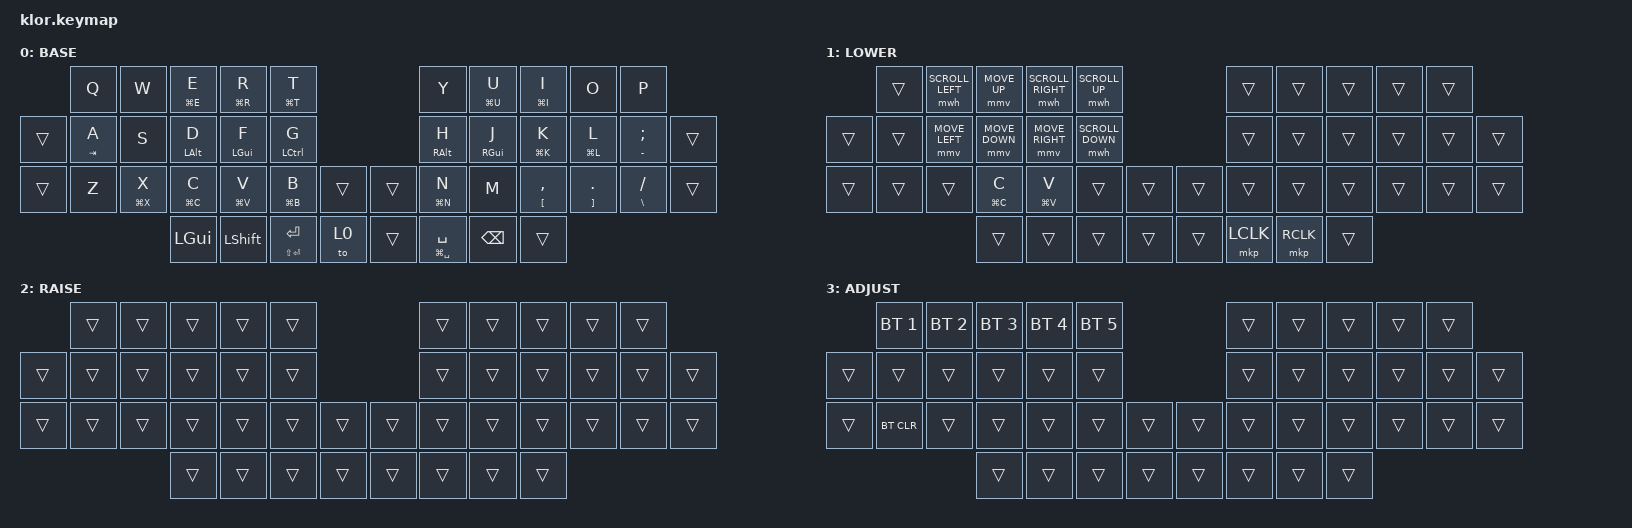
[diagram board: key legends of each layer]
//                               █         █    █            ▄▄▄▀▀▀▀▀▀▄▄▄        █▀▀▀▀▀▀▀▀▀▀█
//                               █        █     █          ▄▀            ▀▄      █          █
//                               █       █      █        ▄▀                ▀▄    █          █
//                               █      █       █        █                  █    █          █
//                               █     █        █       █                    █   █          █
//                               █    █         █       █                    █   █▄▄▄▄▄▄▄▄▄▄█
//                               █   █ █        █       █                    █   █      █
//                               █  █   █       █        █                  █    █       █
//                               █ █     █      █        ▀▄                ▄▀    █        █
//                               ██       █     █          ▀▄            ▄▀      █         █
//                               █         █    █▄▄▄▄▄▄▄▄    ▀▀▀▄▄▄▄▄▄▀▀▀        █          █
//
// ▄▄▄▄▄▄▄▄▄▄▄▄▄▄▄▄▄▄▄▄▄▄▄▄▄▄▄▄▄▄▄▄▄▄▄▄▄▄▄▄▄▄▄▄▄▄▄▄▄▄▄▄▄▄▄▄▄▄▄▄▄▄▄▄▄▄▄▄▄▄▄▄▄▄▄▄▄▄▄▄▄▄▄▄▄▄▄▄▄▄▄▄▄▄▄▄▄▄▄▄▄▄▄▄▄▄▄▄▄▄▄▄▄▄▄▄▄▄▄▄▄▄▄▄▄

#include <behaviors.dtsi>
#include <dt-bindings/zmk/keys.h>
#include <dt-bindings/zmk/bt.h>
#include <dt-bindings/zmk/mouse.h>

#define BASE   0
#define LOWER  1
#define RAISE  2
#define ADJUST 3

&mmv {
    time-to-max-speed-ms = <250>;
    acceleration-exponent = <0>;
};

&mwh {
    time-to-max-speed-ms = <250>;
    acceleration-exponent = <0>;
};

/ {
    combos {
        compatible = "zmk,combos";

        combo_esc {
            timeout-ms = <25>;
            key-positions = <0 1>;
            bindings = <&kp ESC>;
        };

        combo_PP {
            timeout-ms = <25>;
            key-positions = <4 5>;
            bindings = <&kp C_PP>;
        };

        combo_EXCLAMATION {
            timeout-ms = <25>;
            bindings = <&kp EXCLAMATION>;
            key-positions = <1 2>;
        };

        combo_AT_SIGN {
            timeout-ms = <25>;
            bindings = <&kp AT_SIGN>;
            key-positions = <2 3>;
        };

        combo_HASH {
            timeout-ms = <25>;
            bindings = <&kp HASH>;
            key-positions = <1 13>;
        };

        combo_DOLLAR {
            timeout-ms = <25>;
            bindings = <&kp DOLLAR>;
            key-positions = <13 3>;
        };

        combo_PERCENT {
            timeout-ms = <25>;
            bindings = <&kp PERCENT>;
            key-positions = <1 3>;
        };

        combo_CARET {
            timeout-ms = <25>;
            bindings = <&kp CARET>;
            key-positions = <6 8>;
        };

        combo_AMPERSAND {
            timeout-ms = <25>;
            bindings = <&kp AMPERSAND>;
            key-positions = <6 18>;
        };

        combo_ASTERISK {
            timeout-ms = <25>;
            bindings = <&kp ASTERISK>;
            key-positions = <18 8>;
        };

        combo_LEFT_PARENTHESIS {
            timeout-ms = <25>;
            bindings = <&kp LEFT_PARENTHESIS>;
            key-positions = <6 7>;
        };

        combo_RIGHT_PARENTHESIS {
            timeout-ms = <25>;
            bindings = <&kp RIGHT_PARENTHESIS>;
            key-positions = <7 8>;
        };

        combo_VOLUME_UP {
            timeout-ms = <25>;
            bindings = <&kp C_VOLUME_UP>;
            key-positions = <25 26>;
        };

        combo_VOLUME_DOWN {
            timeout-ms = <25>;
            bindings = <&kp C_VOLUME_DOWN>;
            key-positions = <23 24>;
        };

        combo_MUTE {
            timeout-ms = <25>;
            bindings = <&kp C_MUTE>;
            key-positions = <24 25>;
        };

        combo_TO3 {
            timeout-ms = <25>;
            bindings = <&to 3>;
            key-positions = <37 38 27>;
        };

        combo_dash {
            timeout-ms = <25>;
            bindings = <&kp SINGLE_QUOTE>;
            key-positions = <8 9>;
        };

        combo_quote {
            timeout-ms = <25>;
            bindings = <&kp MINUS>;
            key-positions = <19 20>;
        };

        combo_plus {
            timeout-ms = <25>;
            bindings = <&kp PLUS>;
            key-positions = <20 34>;
        };

        combo_multiply {
            timeout-ms = <25>;
            bindings = <&kp ASTERISK>;
            key-positions = <20 33>;
        };

        combo_equal {
            timeout-ms = <25>;
            bindings = <&kp EQUAL>;
            key-positions = <34 33>;
        };

        combo_no1 {
            timeout-ms = <50>;
            bindings = <&kp NUMBER_1>;
            key-positions = <42 31>;
        };

        combo_no2 {
            timeout-ms = <50>;
            bindings = <&kp NUMBER_2>;
            key-positions = <42 32>;
        };

        combo_no3 {
            timeout-ms = <50>;
            bindings = <&kp NUMBER_3>;
            key-positions = <42 33>;
        };

        combo_no4 {
            timeout-ms = <50>;
            bindings = <&kp NUMBER_4>;
            key-positions = <42 17>;
        };

        combo_no5 {
            timeout-ms = <50>;
            bindings = <&kp NUMBER_5>;
            key-positions = <42 18>;
        };

        combo_no6 {
            timeout-ms = <50>;
            bindings = <&kp NUMBER_6>;
            key-positions = <42 19>;
        };

        combo_no7 {
            timeout-ms = <50>;
            bindings = <&kp NUMBER_7>;
            key-positions = <42 6>;
        };

        combo_no8 {
            timeout-ms = <50>;
            bindings = <&kp NUMBER_8>;
            key-positions = <42 7>;
        };

        combo_no9 {
            timeout-ms = <50>;
            bindings = <&kp NUMBER_9>;
            key-positions = <42 8>;
        };

        combo_no0 {
            timeout-ms = <50>;
            bindings = <&kp NUMBER_0>;
            key-positions = <42 9>;
        };

        combo_leftscreen {
            timeout-ms = <25>;
            bindings = <&kp LC(LEFT)>;
            key-positions = <11 0>;
        };

        combo_rightscreen {
            timeout-ms = <25>;
            bindings = <&kp LC(RIGHT)>;
            key-positions = <4 15>;
        };

        combo_nexttrack {
            timeout-ms = <25>;
            bindings = <&kp C_NEXT>;
            key-positions = <24 25 26>;
        };

        combo_prevtrack {
            timeout-ms = <25>;
            bindings = <&kp C_PREV>;
            key-positions = <23 24 25>;
        };

        combo_changelang {
            timeout-ms = <30>;
            bindings = <&kp LC(SPACE)>;
            key-positions = <14 15 16 17>;
        };

        combo_up {
            timeout-ms = <25>;
            bindings = <&kp UP>;
            key-positions = <2 13>;
        };

        combo_down {
            timeout-ms = <25>;
            bindings = <&kp DOWN>;
            key-positions = <13 25>;
        };

        combo_left {
            timeout-ms = <25>;
            bindings = <&kp LEFT>;
            key-positions = <13 12>;
        };

        combo_right {
            timeout-ms = <25>;
            bindings = <&kp RIGHT>;
            key-positions = <13 14>;
        };

        combo_spaces {
            timeout-ms = <30>;
            bindings = <&kp LC(UP)>;
            key-positions = <0 4>;
        };

        combo_to0 {
            timeout-ms = <50>;
            bindings = <&to 0>;
            key-positions = <37 38>;
        };

        combo_screenshot {
            bindings = <&kp LG(LS(N4))>;
            key-positions = <0 23 9 34>;
        };

        combo_cmd_left {
            timeout-ms = <30>;
            bindings = <&kp LG(LEFT)>;
            key-positions = <0 2>;
        };

        combo_cmd_right {
            timeout-ms = <30>;
            bindings = <&kp LG(RIGHT)>;
            key-positions = <2 4>;
        };

        combo_to1 {
            bindings = <&to 1>;
            key-positions = <41 42>;
        };

        combo_emoji {
            bindings = <&kp LC(LG(SPACE))>;
            key-positions = <4 3 5 6>;
        };
    };

    behaviors {
        gqt: global-quick-tap {
            compatible = "zmk,behavior-hold-tap";
            label = "GLOBAL_QUICK_TAP";
            #binding-cells = <2>;
            flavor = "tap-preferred";
            tapping-term-ms = <250>;
            quick-tap-ms = <125>;
            global-quick-tap;
            bindings =
                <&kp>,
                <&kp>;
        };
    };

    keymap {
        compatible = "zmk,keymap";

        // ▄▄▄▄▄▄▄▄▄▄▄▄▄▄▄▄▄▄▄▄▄▄▄▄▄▄▄▄▄▄▄▄▄▄▄▄▄▄▄▄▄▄▄▄▄▄▄▄▄▄▄▄▄▄▄▄▄▄▄▄▄▄▄▄▄▄▄▄▄▄▄▄▄▄▄▄▄▄▄▄▄▄▄▄▄▄▄▄▄▄▄▄▄▄▄▄▄▄▄▄▄▄▄▄▄▄▄▄▄▄▄▄▄▄▄▄▄▄▄▄▄▄▄▄▄▄▄▄▄▄▄▄▄▄▄▄▄▄▄▄▄▄

        BASE {
            // ┌───────────────────────────────────────────────────────────┐

            label = "BASE";

            // └───────────────────────────────────────────────────────────┘
            /*          
             ┌─────────┬─────────┬─────────┬─────────┬─────────┐                    ┌─────────┬─────────┬─────────┬─────────┬─────────┐
             │    Q    │    W    │    E    │    R    │    T    │                    │    Y    │    U    │    I    │    O    │    P    │
   ┌─────────┼─────────┼─────────┼─────────┼─────────┼─────────┤                    ├─────────┼─────────┼─────────┼─────────┼─────────┼─────────┐
   │   TAB   │    A    │    S    │    D    │    F    │    G    │                    │    H    │    J    │    K    │    L    │    ;    │    '    │
   ├─────────┼─────────┼─────────┼─────────┼─────────┼─────────┤╭────────╮╭────────╮├─────────┼─────────┼─────────┼─────────┼─────────┼─────────┤
   │   SFT   │    Z    │    X    │    C    │    V    │    B    ││  MUTE  ││PLY/PSE ││    M    │    N    │    ,    │    .    │    /    │  ADJUST │
   └─────────┴─────────┴─────────┼─────────┼─────────┼─────────┼╰────────╯╰────────╯┼─────────┼─────────┼─────────┼─────────┴─────────┴─────────┘
                                 │  LOWER  │   CMD   │  SPACE  │  ENTER  ││  ENTER  │  LOWER  │  SPACE  │  OPTION │
                                 └─────────┴─────────┴─────────┴─────────┘└─────────┴─────────┴─────────┴─────────┘ */

            bindings = <
              &kp Q         &kp W  &gqt LG(E) E  &gqt LG(R) R          &gqt LG(T) T                                 &kp Y      &gqt LG(U) U             &gqt LG(I) I                   &kp O                 &kp P
 &trans  &gqt TAB A         &kp S   &gqt LALT D   &gqt LGUI F          &gqt LCTRL G                      &gqt RIGHT_ALT H  &gqt RIGHT_GUI J             &gqt LG(K) K            &gqt LG(L) L  &gqt MINUS SEMICOLON  &trans
 &trans       &kp Z  &gqt LG(X) X  &gqt LG(C) C  &gqt LG(V) V          &gqt LG(B) B  &trans  &trans          &gqt LG(N) N             &kp M  &gqt LEFT_BRACKET COMMA  &gqt RIGHT_BRACKET DOT  &gqt BACKSLASH SLASH  &trans
                                       &kp LGUI    &kp LSHIFT  &gqt LS(ENTER) ENTER   &to 0  &trans  &gqt LG(SPACE) SPACE     &kp BACKSPACE                   &trans
            >;
        };

        // ▄▄▄▄▄▄▄▄▄▄▄▄▄▄▄▄▄▄▄▄▄▄▄▄▄▄▄▄▄▄▄▄▄▄▄▄▄▄▄▄▄▄▄▄▄▄▄▄▄▄▄▄▄▄▄▄▄▄▄▄▄▄▄▄▄▄▄▄▄▄▄▄▄▄▄▄▄▄▄▄▄▄▄▄▄▄▄▄▄▄▄▄▄▄▄▄▄▄▄▄▄▄▄▄▄▄▄▄▄▄▄▄▄▄▄▄▄▄▄▄▄▄▄▄▄▄▄▄▄▄▄▄▄▄▄▄▄▄▄▄▄▄

        LOWER {
            // ┌───────────────────────────────────────────────────────────┐

            label = "LOWER";

            // └───────────────────────────────────────────────────────────┘
            /*          
             ┌─────────┬─────────┬─────────┬─────────┬─────────┐                    ┌─────────┬─────────┬─────────┬─────────┬─────────┐
             │         │SCROLL_< │    ^    │SCROLL_> │SCROLL_^ │                    │         │         │         │         │         │
   ┌─────────┼─────────┼─────────┼─────────┼─────────┼─────────┤                    ├─────────┼─────────┼─────────┼─────────┼─────────┼─────────┐
   │         |         │    <    │    V    │    >    │SCROLL_V │                    │         │  LCLK   │   RCLK  │         │         │         │
   ├─────────┼─────────┼─────────┼─────────┼─────────┼─────────┤╭────────╮╭────────╮├─────────┼─────────┼─────────┼─────────┼─────────┼─────────┤
   │         │         │         │   COPY  │  PASTE  │         ││        ││        ││         │         │         │         │         │         │
   └─────────┴─────────┴─────────┼─────────┼─────────┼─────────┼╰────────╯╰────────╯┼─────────┼─────────┼─────────┼─────────┴─────────┴─────────┘
                                 │         │         │         │         ││         │   LCLK  │   RCLK  │         │
                                 └─────────┴─────────┴─────────┴─────────┘└─────────┴─────────┴─────────┴─────────┘ */

            bindings = <
         &trans  &mwh SCROLL_LEFT    &mmv MOVE_UP  &mwh SCROLL_RIGHT    &mwh SCROLL_UP                     &trans     &trans  &trans  &trans  &trans
 &trans  &trans    &mmv MOVE_LEFT  &mmv MOVE_DOWN    &mmv MOVE_RIGHT  &mwh SCROLL_DOWN                     &trans     &trans  &trans  &trans  &trans  &trans
 &trans  &trans            &trans    &gqt LG(C) C       &gqt LG(V) V            &trans  &trans  &trans     &trans     &trans  &trans  &trans  &trans  &trans
                                           &trans             &trans            &trans  &trans  &trans  &mkp LCLK  &mkp RCLK  &trans
            >;
        };

        // ▄▄▄▄▄▄▄▄▄▄▄▄▄▄▄▄▄▄▄▄▄▄▄▄▄▄▄▄▄▄▄▄▄▄▄▄▄▄▄▄▄▄▄▄▄▄▄▄▄▄▄▄▄▄▄▄▄▄▄▄▄▄▄▄▄▄▄▄▄▄▄▄▄▄▄▄▄▄▄▄▄▄▄▄▄▄▄▄▄▄▄▄▄▄▄▄▄▄▄▄▄▄▄▄▄▄▄▄▄▄▄▄▄▄▄▄▄▄▄▄▄▄▄▄▄

        RAISE {
            // ┌───────────────────────────────────────────────────────────┐

            label = "RAISE";

            // └───────────────────────────────────────────────────────────┘
            /*           
             ┌─────────┬─────────┬─────────┬─────────┬─────────┐                    ┌─────────┬─────────┬─────────┬─────────┬─────────┐
             │         │         │         │         │         │                    │         │         │         │         │         │
   ┌─────────┼─────────┼─────────┼─────────┼─────────┼─────────┤                    ├─────────┼─────────┼─────────┼─────────┼─────────┼─────────┐
   │         │         │         │         │         │         │                    │   LEFT  │  DOWN   │   UP    │  RIGHT  │         │         │
   ├─────────┼─────────┼─────────┼─────────┼─────────┼─────────┤╭────────╮╭────────╮├─────────┼─────────┼─────────┼─────────┼─────────┼─────────┤
   │         │         │         │         │         │         ││        ││        ││   HOME  │  END    │  PGUP   │  PGDN   │         │         │
   └─────────┴─────────┴─────────┼─────────┼─────────┼─────────┼╰────────╯╰────────╯┼─────────┼─────────┼─────────┼─────────┴─────────┴─────────┘
                                 │         │         │         │         ││         │         │         │         │
                                 └─────────┴─────────┴─────────┴─────────┘└─────────┴─────────┴─────────┴─────────┘ */

            bindings = <
         &trans  &trans  &trans  &trans  &trans                  &trans  &trans  &trans  &trans  &trans
 &trans  &trans  &trans  &trans  &trans  &trans                  &trans  &trans  &trans  &trans  &trans  &trans
 &trans  &trans  &trans  &trans  &trans  &trans  &trans  &trans  &trans  &trans  &trans  &trans  &trans  &trans
                         &trans  &trans  &trans  &trans  &trans  &trans  &trans  &trans
            >;
        };

        // ▄▄▄▄▄▄▄▄▄▄▄▄▄▄▄▄▄▄▄▄▄▄▄▄▄▄▄▄▄▄▄▄▄▄▄▄▄▄▄▄▄▄▄▄▄▄▄▄▄▄▄▄▄▄▄▄▄▄▄▄▄▄▄▄▄▄▄▄▄▄▄▄▄▄▄▄▄▄▄▄▄▄▄▄▄▄▄▄▄▄▄▄▄▄▄▄▄▄▄▄▄▄▄▄▄▄▄▄▄▄▄▄▄▄▄▄▄▄▄▄▄▄▄▄▄

        ADJUST {
            // ┌───────────────────────────────────────────────────────────┐

            label = "ADJUST";

            // └───────────────────────────────────────────────────────────┘
            /*           
             ┌─────────┬─────────┬─────────┬─────────┬─────────┐                    ┌─────────┬─────────┬─────────┬─────────┬─────────┐
             │  BT_1   │   BT_2  │   BT_3  │   BT_4  │  BT_5   │                    │         │         │         │   -/_   │   =/+   │
   ┌─────────┼─────────┼─────────┼─────────┼─────────┼─────────┤                    ├─────────┼─────────┼─────────┼─────────┼─────────┼─────────┐
   │  BT_CLR │  BT_NXT │         │         │         │         │                    │         │         │    <    │    ^    │    >    │         │
   ├─────────┼─────────┼─────────┼─────────┼─────────┼─────────┤╭────────╮╭────────╮├─────────┼─────────┼─────────┼─────────┼─────────┼─────────┤
   │         │  BT_PRV │         │         │         │         ││        ││        ││         │         │         │    V    │         │         │
   └─────────┴─────────┴─────────┼─────────┼─────────┼─────────┼╰────────╯╰────────╯┼─────────┼─────────┼─────────┼─────────┴─────────┴─────────┘
                                 │         │         │         │         ││         │         │         │         │
                                 └─────────┴─────────┴─────────┴─────────┘└─────────┴─────────┴─────────┴─────────┘ */

            bindings = <
         &bt BT_SEL 1  &bt BT_SEL 2  &bt BT_SEL 3  &bt BT_SEL 4  &bt BT_SEL 5                  &trans  &trans  &trans  &trans  &trans
 &trans        &trans        &trans        &trans        &trans        &trans                  &trans  &trans  &trans  &trans  &trans  &trans
 &trans    &bt BT_CLR        &trans        &trans        &trans        &trans  &trans  &trans  &trans  &trans  &trans  &trans  &trans  &trans
                                           &trans        &trans        &trans  &trans  &trans  &trans  &trans  &trans
            >;
        };
    };
};
